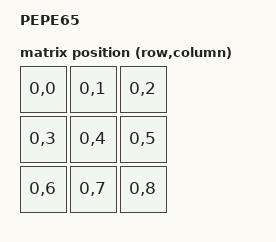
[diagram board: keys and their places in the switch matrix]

/*
 * Copyright (c) 2021 Thys de Wet (vattern)
 *
 * SPDX-License-Identifier: MIT
 */

#include <nordic/nrf52840_qiaa.dtsi>
#include <dt-bindings/zmk/matrix_transform.h>
/ {
    model = "PEPE65";
    compatible = "pepe65";

    chosen {
        zephyr,code-partition = &code_partition;
        zephyr,sram = &sram0;
        zephyr,flash = &flash0;
        zephyr,console = &cdc_acm_uart;
        zmk,kscan = &kscan0;
        zmk,matrix_transform = &default_transform;

    };

    vbatt {
  		compatible = "zmk,battery-voltage-divider";
  		label = "BATTERY";
  		io-channels = <&adc 2>; // could be adc 1
  		output-ohms = <2000000>;
  		full-ohms = <(2000000 + 806000)>;
  	};



	default_transform: keymap_transform_0 {
		compatible = "zmk,matrix-transform";
		columns = <8>;
		rows = <1>;
		        map = <
RC(0,0) RC(0,1) RC(0,2) 
RC(0,3) RC(0,4) RC(0,5) 
RC(0,6) RC(0,7) RC(0,8) 
        >;
	};

    kscan0: kscan {
        compatible = "zmk,kscan-gpio-matrix";
        label = "KSCAN";
        diode-direction = "row2col";

    };
    
	

};
	


&gpio0 {
    status = "okay";
};

&gpio1 {
    status = "okay";
};

&adc {
    status = "okay";
};

&usbd {
    status = "okay";
    cdc_acm_uart: cdc_acm_uart {
        compatible = "zephyr,cdc-acm-uart";
        label = "CDC_ACM_0";
    };
};

&pwm0 {
    status = "okay";
};



&flash0 {
    /*
     * For more information, see:
     * http://docs.zephyrproject.org/latest/devices/dts/flash_partitions.html
     */
    partitions {
        compatible = "fixed-partitions";
        #address-cells = <1>;
        #size-cells = <1>;

        sd_partition: partition@0 {
            label = "softdevice";
            reg = <0x00000000 0x00026000>;
        };
        code_partition: partition@26000 {
            label = "code_partition";
            reg = <0x00026000 0x000c6000>;
        };

        /*
         * The flash starting at 0x000ec000 and ending at
         * 0x000f3fff is reserved for use by the application.
         */

        /*
         * Storage partition will be used by FCB/LittleFS/NVS
         * if enabled.
         */
        storage_partition: partition@ec000 {
            label = "storage";
            reg = <0x000ec000 0x00008000>;
        };

        boot_partition: partition@f4000 {
            label = "adafruit_boot";
            reg = <0x000f4000 0x0000c000>;
        };
    };
};
